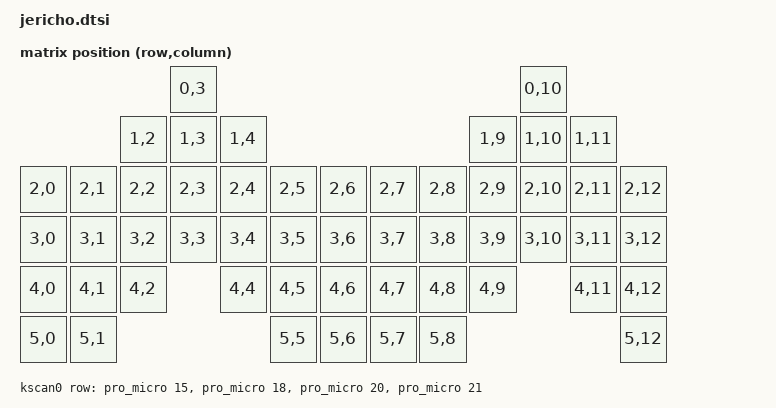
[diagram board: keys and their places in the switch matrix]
#include <dt-bindings/zmk/matrix_transform.h>

/ {
    chosen {
        zmk,kscan = &kscan0;
        zmk,matrix-transform = &default_transform;
    };

    default_transform: keymap_transform_0 {
        compatible = "zmk,matrix-transform";
        columns = <19>;
        rows = <6>;
// 
        map = <
                        RC(0,3)                                                  RC(0,10)
                RC(1,2) RC(1,3) RC(1,4)                                  RC(1,9) RC(1,10) RC(1,11)
RC(2,0) RC(2,1) RC(2,2) RC(2,3) RC(2,4) RC(2,5) RC(2,6)  RC(2,7) RC(2,8) RC(2,9) RC(2,10) RC(2,11) RC(2,12) 
RC(3,0) RC(3,1) RC(3,2) RC(3,3) RC(3,4) RC(3,5) RC(3,6)  RC(3,7) RC(3,8) RC(3,9) RC(3,10) RC(3,11) RC(3,12) 
RC(4,0) RC(4,1) RC(4,2)         RC(4,4) RC(4,5) RC(4,6)  RC(4,7) RC(4,8) RC(4,9)          RC(4,11) RC(4,12) 
RC(5,0) RC(5,1)                         RC(5,5) RC(5,6)  RC(5,7) RC(5,8)                           RC(5,12)
        >;
    };

    kscan0: kscan {
        compatible = "zmk,kscan-gpio-matrix";
        wakeup-source;

        diode-direction = "col2row";
        row-gpios
            = <&pro_micro 15 (GPIO_ACTIVE_HIGH | GPIO_PULL_DOWN)>
            , <&pro_micro 18 (GPIO_ACTIVE_HIGH | GPIO_PULL_DOWN)>
            , <&pro_micro 20 (GPIO_ACTIVE_HIGH | GPIO_PULL_DOWN)>
            , <&pro_micro 21 (GPIO_ACTIVE_HIGH | GPIO_PULL_DOWN)>
            ;

    };
};
